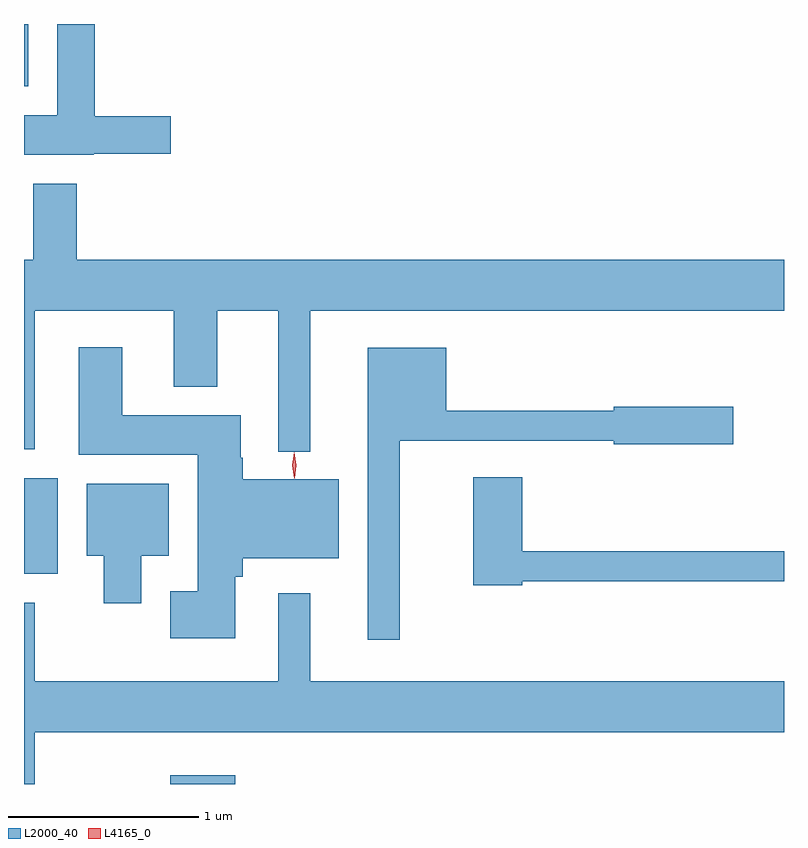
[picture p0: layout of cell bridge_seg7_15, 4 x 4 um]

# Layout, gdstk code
import gdstk
lib = gdstk.Library(unit=1e-6, precision=1e-09)
def R(c, l, rs):  # rectangles x0, y0, x1, y1
    for r in rs: c.add(gdstk.rectangle(r[:2], r[2:], *l))
def P(c, l, *ps):  # polygons
    for p in ps: c.add(gdstk.Polygon(p, *l))
L2000_40 = (2000, 40)
L4165_0 = (4165, 0)

bridge_seg7_15 = lib.new_cell('bridge_seg7_15')
R(bridge_seg7_15, L2000_40, [(1676.651,1738.464,1676.994,1738.509), (1675.882,1739.571,1676.059,1740.074), (1675.882,1742.136,1675.904,1742.464)])
P(bridge_seg7_15, L2000_40, [(1676.25,1741.781),(1676.654,1741.781),(1676.654,1741.979),(1676.254,1741.979),(1676.254,1742.464),(1676.056,1742.464),(1676.056,1741.984),(1675.882,1741.984),(1675.882,1741.776),(1676.25,1741.776)],
  [(1677.389,1740.956),(1679.882,1740.956),(1679.882,1741.224),(1676.159,1741.224),(1676.159,1741.624),(1675.931,1741.624),(1675.931,1741.224),(1675.882,1741.224),(1675.882,1740.226),(1675.939,1740.226),(1675.939,1740.956),(1676.671,1740.956),(1676.671,1740.556),(1676.899,1740.556),(1676.899,1740.956),(1677.221,1740.956),(1677.221,1740.213),(1677.389,1740.213)],
  [(1676.994,1739.556),(1677.034,1739.556),(1677.034,1739.651),(1677.539,1739.651),(1677.539,1740.069),(1677.034,1740.069),(1677.034,1740.18),(1677.024,1740.18),(1677.024,1740.404),(1676.399,1740.404),(1676.399,1740.764),(1676.171,1740.764),(1676.171,1740.196),(1676.796,1740.196),(1676.796,1739.479),(1676.651,1739.479),(1676.651,1739.231),(1676.994,1739.231)],
  [(1677.859,1740.271),(1678.986,1740.271),(1678.986,1740.251),(1679.614,1740.251),(1679.614,1740.449),(1678.986,1740.449),(1678.986,1740.429),(1678.104,1740.429),(1678.104,1740.759),(1677.691,1740.759),(1677.691,1739.223),(1677.859,1739.223)],
  [(1678.504,1739.531),(1679.882,1739.531),(1679.882,1739.689),(1678.504,1739.689),(1678.504,1740.079),(1678.246,1740.079),(1678.246,1739.511),(1678.504,1739.511)],
  [(1676.499,1739.666),(1676.644,1739.666),(1676.644,1740.044),(1676.211,1740.044),(1676.211,1739.666),(1676.301,1739.666),(1676.301,1739.416),(1676.499,1739.416)],
  [(1675.939,1738.736),(1679.882,1738.736),(1679.882,1739.004),(1677.389,1739.004),(1677.389,1739.468),(1677.221,1739.468),(1677.221,1739.004),(1675.939,1739.004),(1675.939,1739.419),(1675.882,1739.419),(1675.882,1738.464),(1675.939,1738.464)])
P(bridge_seg7_15, L4165_0, [(1677.306,1740.073),(1677.305,1740.074),(1677.295,1740.142),(1677.304,1740.21),(1677.305,1740.21),(1677.305,1740.21),(1677.315,1740.142),(1677.306,1740.074)],
  [(1677.304,1740.082),(1677.295,1740.144),(1677.304,1740.206),(1677.305,1740.207),(1677.305,1740.206),(1677.315,1740.144),(1677.305,1740.082),(1677.305,1740.082)])

lib.write_gds('bridge_seg7_15.gds')
